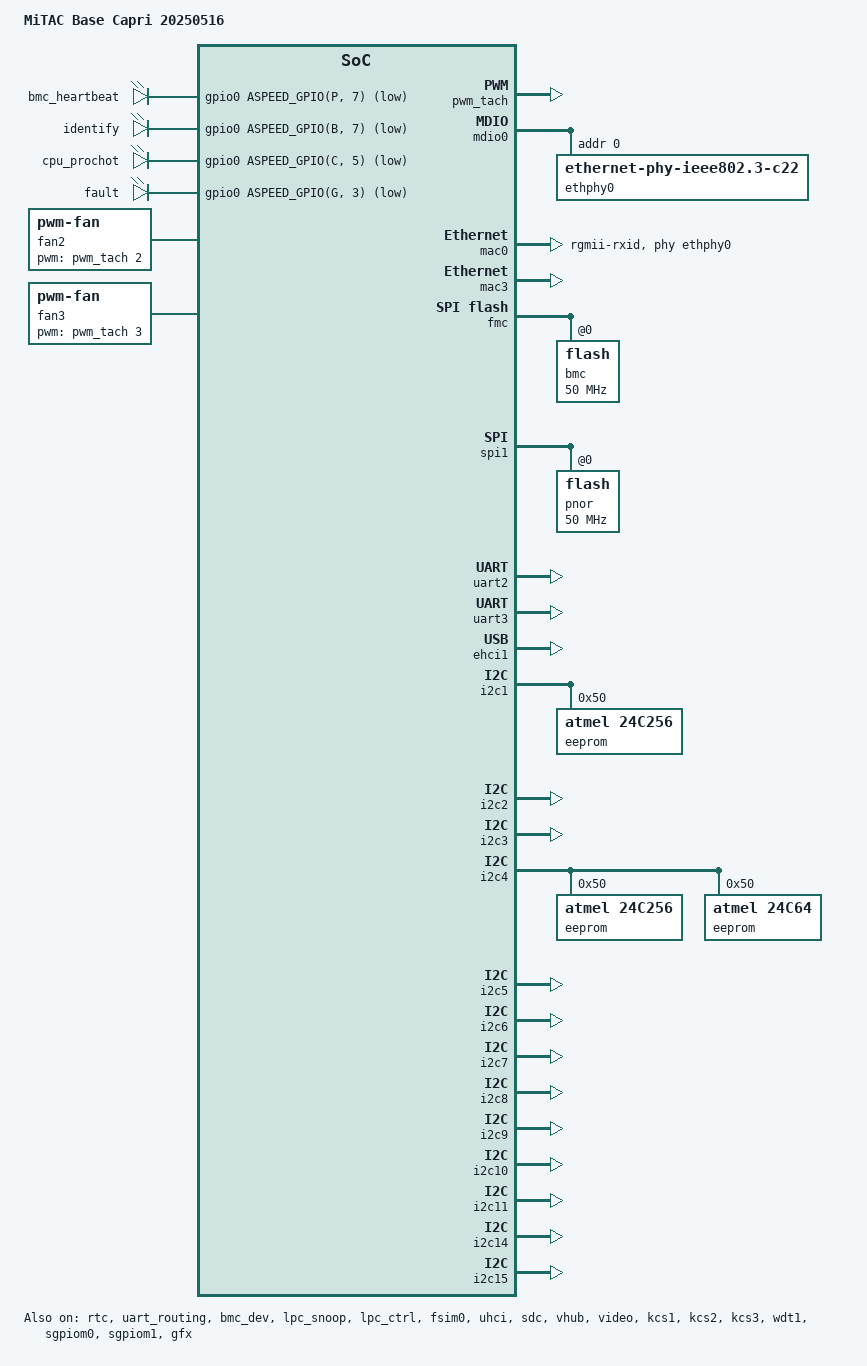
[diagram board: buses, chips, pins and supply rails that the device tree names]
// SPDX-License-Identifier: GPL-2.0-or-later
// Copyright 2019 IBM Corp.

/dts-v1/;

#include "aspeed-g6.dtsi"
#include <dt-bindings/gpio/aspeed-gpio.h>

/ {
	model = "MiTAC Base Capri 20250516";
	#include "aspeed-bmc-mitac-2600-reserved-memory.dtsi"

        leds {
                compatible = "gpio-leds";

                bmc_heartbeat {
                        gpios = <&gpio0 ASPEED_GPIO(P, 7) GPIO_ACTIVE_LOW>;
                        default-state = "on";
                };
		//Unable to use aspeed-bmc-mitac-common-leds.dtsi due to S8056 has different arrangement for identify led.
                identify {
                        gpios = <&gpio0 ASPEED_GPIO(B, 7) GPIO_ACTIVE_LOW>;
                        default-state = "on";
                };
                cpu_prochot {
                        gpios = <&gpio0 ASPEED_GPIO(C, 5) GPIO_ACTIVE_LOW>;
                        default-state = "off";
                };
		fault {
			gpios = <&gpio0 ASPEED_GPIO(G, 3) GPIO_ACTIVE_LOW>;
			default-state = "off";
		};
        };

        gpio-keys {
                compatible = "gpio-keys";

		#include "aspeed-bmc-mitac-common-buttons.dtsi"
        };

        fan2: pwm-fan2 {
                compatible = "pwm-fan";
                pwms = <&pwm_tach 2 40000 0>;
                cooling-min-state = <0>;
                cooling-max-state = <3>;
                #cooling-cells = <2>;
                cooling-levels = <0 16 32 64>;
        };

        fan3: pwm-fan3 {
                compatible = "pwm-fan";
                pwms = <&pwm_tach 3 40000 0>;
                cooling-min-state = <0>;
                cooling-max-state = <3>;
                #cooling-cells = <2>;
                cooling-levels = <0 16 32 64>;
        };
};
&pwm_tach {
        status = "okay";
        pinctrl-names = "default";
        pinctrl-0 = <&pinctrl_pwm2_default &pinctrl_pwm3_default
                     &pinctrl_tach2_default &pinctrl_tach3_default
                    >;

        fan@2 {
                tach-ch = /bits/ 8 <0x02>;
        };
        fan@3 {
                tach-ch = /bits/ 8 <0x03>;
        };
};

&mdio0 {
        status = "okay";

        ethphy0: ethernet-phy@0 {
                compatible = "ethernet-phy-ieee802.3-c22";
                reg = <0>;
        };
};

/* Used on Mi-DCSCM for dedicated NIC */
&mac0 {
        status = "okay";

        phy-mode = "rgmii-rxid";
        phy-handle = <&ethphy0>;

        pinctrl-names = "default";
        pinctrl-0 = <&pinctrl_rgmii1_default>;
};

&mac3 {
        status = "okay";
        pinctrl-names = "default";
        pinctrl-0 = <&pinctrl_rmii4_default>;
	clock-names = "MACCLK", "RCLK";
        use-ncsi;
};

&rtc {
	status = "okay";
};

&fmc {
	status = "okay";
	flash@0 {
		status = "okay";
		m25p,fast-read;
		label = "bmc";
		spi-rx-bus-width = <4>;
		spi-max-frequency = <50000000>;
#include "MiOBMC-flash-layout-64.dtsi"
	};
};

&spi1 {
	status = "okay";
	pinctrl-names = "default";
	pinctrl-0 = <&pinctrl_spi1_default>;

	flash@0 {
		status = "okay";
		m25p,fast-read;
		label = "pnor";
		spi-rx-bus-width = <1>;
		spi-max-frequency = <50000000>;
	};
};

&uart2 {
        status = "okay";
};

&uart3 {
        status = "okay";
};

&uart5 {
	// Workaround for A0
	compatible = "snps,dw-apb-uart";
};

&uart_routing {
        status = "okay";
};

&bmc_dev {
        status = "okay";
        memory-region = <&bmc_dev_memory>;
};

/*
&vuart1{
        status = "okay";
};
*/

&lpc_snoop {
	status = "okay";
	snoop-ports = <0x80>, <0x81>;
};

&lpc_ctrl {
	status = "okay";
};

&fsim0 {
	status = "okay";
};

&ehci1 {
	status = "okay";
};

&uhci {
	status = "okay";
};

&sdc {
	status = "okay";
};

&vhub {
	status = "okay";
	pinctrl-names = "default";
};

&video {
	status = "okay";
	memory-region = <&video_engine_memory>;
};

&kcs1 {
        kcs-io-addr = <0xca0>;
	kcs-channel = <1>;
        status = "okay";
};

&kcs2 {
        kcs-io-addr = <0xca8>;
	kcs-channel = <2>;
        status = "okay";
};

&kcs3 {
        kcs-io-addr = <0xca2>;
	kcs-channel = <3>;
        status = "okay";
};

&wdt1 {
        status = "okay";
        pinctrl-names = "default";
        pinctrl-0 = <&pinctrl_wdtrst1_default>;
        aspeed,reset-type = "soc";
        aspeed,external-signal;
        aspeed,ext-push-pull;
        aspeed,ext-active-high;
        aspeed,ext-pulse-duration = <256>;
};

&i2c1 {
	status = "okay";
	// MB FRU for Capri2
	eeprom@50 {
		compatible = "atmel,24c256";
		reg = <0x50>;
	};
};
&i2c2 {
        status = "okay";
};
&i2c3 {
        status = "okay";
};
&i2c4 {
        status = "okay";
	// MB FRU for MPH
	eeprom@50 {
		compatible = "atmel,24c256";
		reg = <0x50>;
	};
	// DC-SCM FRU on E7142 DCSCM
	eeprom@51 {
		compatible = "atmel,24c64";
		reg = <0x50>;
	};
};
&i2c5 {
        status = "okay";
};
&i2c6 {
        status = "okay";
};
&i2c7 {
        status = "okay";
};
&i2c8 {
        status = "okay";
};
&i2c9 {
        status = "okay";
};
&i2c10 {
        status = "okay";
};
&i2c11 {
        status = "okay";
};
/* Used as SGPIO
&i2c12 {
	status = "okay";
};
&i2c13 {
	status = "okay";
};
*/
&i2c14 {
        status = "okay";
};
&i2c15 {
        status = "okay";
};

&sgpiom0 {
        status = "okay";
        ngpios = <128>;
};
&sgpiom1 {
        status = "okay";
        ngpios = <128>;
};

&gpio0 {
	gpio-line-names =
	/*A0-A7*/	"gpio-a0","","","","","","","",
	/*B0-B7*/	"gpio-b0","spi-mux-bios","","","","","","",
	/*C0-C7*/	"gpio-c0","","","identify-led",
			"","","","",
	/*D0-D7*/	"gpio-d0","","","",
			"","","","",
	/*E0-E7*/	"gpio-e0","","","","","","","",
	/*F0-F7*/	"gpio-f0","","",
			"","","",
			"","",
	/*G0-G7*/	"","bmc-ready-n","","",
			"","","","",
	/*H0-H7*/	"gpio-h0","","",
			"","","","","",
	/*I0-I7*/	"gpio-i0","","","","","","","",
	/*J0-J7*/	"gpio-j0","","","","","","","",
	/*K0-K7*/	"gpio-k0","","","","","","","",
	/*L0-L7*/	"gpio-l0","","","","","","","",
	/*M0-M7*/	"gpio-00","","","",
			"","","","",
	/*N0-N7*/	"gpio-n0","","","",
			"","","","",
	/*O0-O7*/	"gpio-o0","","","","","","","",
	/*P0-P7*/	"reset-button","reset-control","power-button","power-control",
			"nmi-button","nmi-control","","",
	/*Q0-Q7*/	"gpio-q0","","","","","","","",
	/*R0-R7*/	"gpio-r0","","","","","","","",
	/*S0-S7*/	"gpio-s0","","","",
			"","","","",
	/*T0-T7*/	"gpio-t0","","","","","","","",
	/*U0-U7*/	"gpio-u0","","","","","","","",
	/*V0-V7*/	"gpio-v0","","","",
			"","","chassis-power-good","",
	/*W0-W7*/	"gpio-w0","","","",
			"","","","",
	/*X0-X7*/	"gpio-x0","",
			"","",
			"","",
			"","",
	/*Y0-Y7*/	"gpio-y0","","","","","","","",
	/*Z0-Z7*/	"gpio-z0","","","","","","","";
};

&gpio1 {
	gpio-line-names =
	/*18A0-18A7*/	"","","","",
			"","","","",
	/*18B0-18B7*/	"","","","","","","","",
	/*18C0-18C7*/	"","","","",
			"","","","",
	/*18D0-18D7*/	"","","","","","","","",
	/*18E0-18E3*/	"","","","";
};

&gfx {
	pcie-reset-detect;
	status = "okay";
	memory-region = <&gfx_memory>;
};
